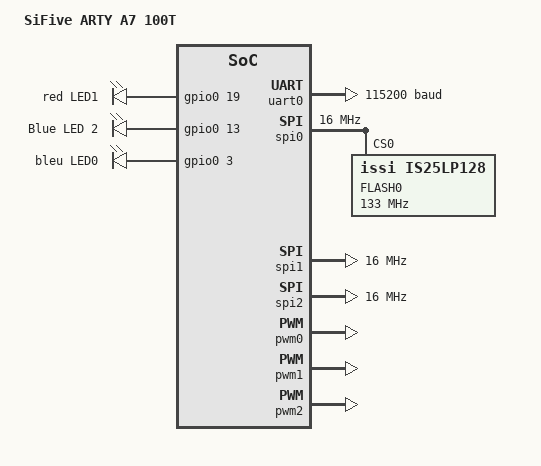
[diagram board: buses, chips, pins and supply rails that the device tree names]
/* Copyright (c) 2018 SiFive, Inc. */
/* SPDX-License-Identifier: Apache-2.0 */

/dts-v1/;

#include <riscv32-fe310.dtsi>

/ {
	model = "SiFive ARTY A7 100T";
	compatible = "sifive,artyA7";
	aliases {
		led0 = &led0;
		led1 = &led1;
		led2 = &led2;
	};

	chosen {
		zephyr,console = &uart0;
		zephyr,shell-uart = &uart0;
		zephyr,sram = &dtim;
		zephyr,flash = &flash0;
	};

	leds {
		compatible = "gpio-leds";
		led0: led_0 {
			gpios = <&gpio0 19 0>;
			label = "red LED1";
		};
		led1: led_1 {
			gpios = <&gpio0 13 0>;
			label = "Blue LED 2";
		};
		led2: led_2 {
			gpios = <&gpio0 3 0>;
			label = "bleu LED0";
		};
	};
};

&gpio0 {
	status = "okay";
};

&uart0 {
	status = "okay";
	current-speed = <115200>;
	clock-frequency = <16000000>;
};

&uart1 {
	clock-frequency = <16000000>;
};

&spi0 {
	status = "okay";
	clock-frequency = <16000000>;

	reg = <0x10014000 0x1000 0x20400000 0xc00000>;
	flash0: flash@0 {
		compatible = "issi,is25lp128", "jedec,spi-nor";
		size = <134217728>;
		label = "FLASH0";
		jedec-id = [96 60 18];
		reg = <0>;
		spi-max-frequency = <133000000>;
	};
};

&spi1 {
	status = "okay";
	clock-frequency = <16000000>;
};

&spi2 {
	status = "okay";
	clock-frequency = <16000000>;
};

&pwm0 {
	status = "okay";
	clock-frequency = <16000000>;
};

&pwm1 {
	status = "okay";
	clock-frequency = <16000000>;
};

&pwm2 {
	status = "okay";
	clock-frequency = <16000000>;
};
